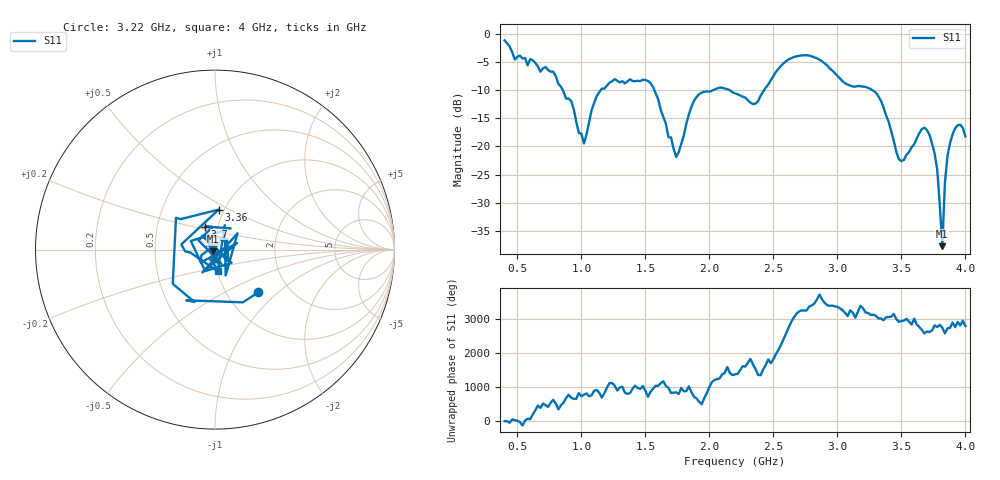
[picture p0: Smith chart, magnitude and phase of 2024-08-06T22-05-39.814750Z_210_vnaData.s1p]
!Created with skrf (http://scikit-rf.org).
# Hz S RI R 50.0
!freq ReS11 ImS11
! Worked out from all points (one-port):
!   181 points, 400 MHz to 4 GHz, reference 50 ohm
!   lowest |S11| = -37.8 dB at 3.82 GHz (marker M1), VSWR 1.03, Z = 49.1 - j0.891 ohm
!   |S11| at or under -10 dB: 855 MHz to 1.15 GHz (295.1 MHz wide, 29.4 % of centre); 1.571 GHz to 2.026 GHz (455.7 MHz wide, 25.3 % of centre); 3.275 GHz to end of sweep (the widest 3 of 4)
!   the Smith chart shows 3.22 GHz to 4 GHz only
!   S11 on the Smith chart (normalised r, x): 3.22 GHz: 1.40, -0.75; 3.36 GHz: 0.94, +0.44; 3.7 GHz: 0.87, +0.23; 4 GHz: 1.00, -0.25
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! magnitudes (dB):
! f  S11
! 400 MHz  -1.1
! 480 MHz  -4.5
! 780 MHz  -6.7
! 860 MHz  -10.2
! 920 MHz  -11.9
! 1.02 GHz  -19.5
! 1.12 GHz  -11.0
! 1.3 GHz  -8.6
! 1.54 GHz  -8.7
! 1.74 GHz  -21.9
! 1.76 GHz  -21.0
! 1.92 GHz  -10.7
! 2.2 GHz  -10.5
! 2.36 GHz  -12.4
! 2.66 GHz  -4.1
! 2.86 GHz  -4.5
! 3.1 GHz  -9.2
! 3.22 GHz  -9.4
! 3.36 GHz  -13.0
! 3.48 GHz  -22.3
! 3.56 GHz  -21.0
! 3.7 GHz  -17.1
! 3.78 GHz  -24.1
! 3.82 GHz  -37.8
! 3.84 GHz  -26.5
! 3.88 GHz  -19.4
! 3.94 GHz  -16.2
! 4 GHz  -18.2
